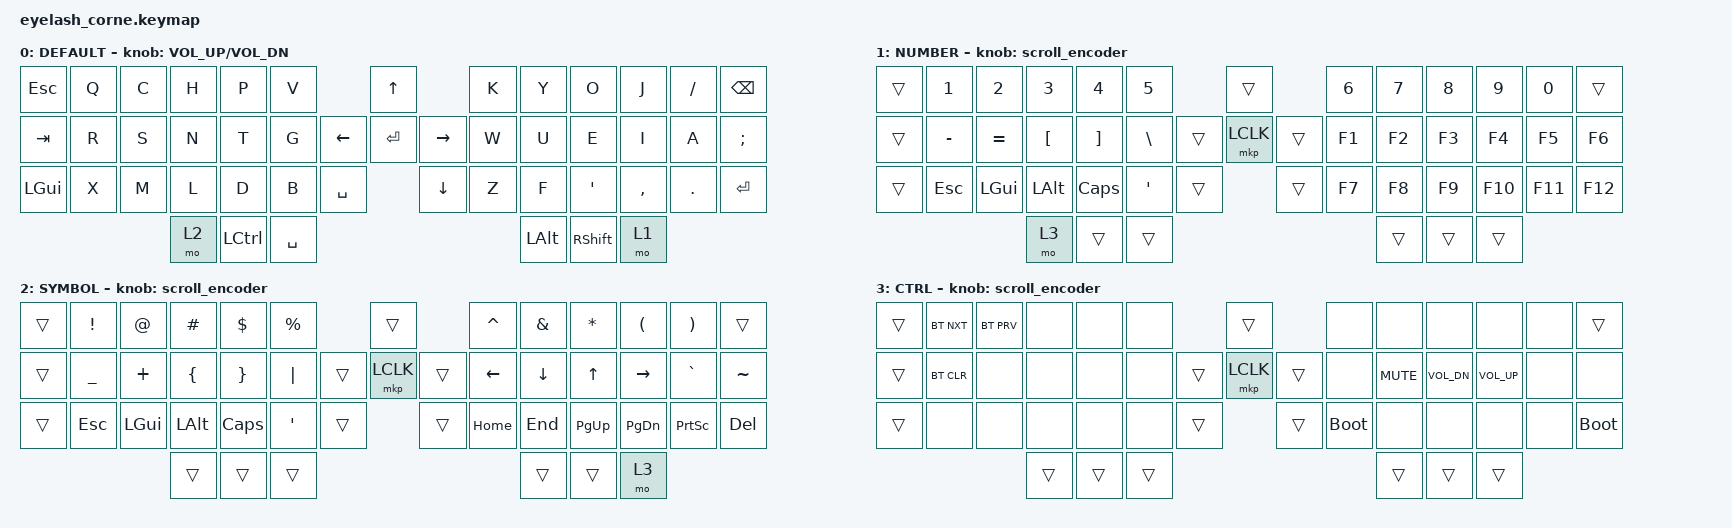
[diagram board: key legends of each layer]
#define ZMK_POINTING_DEFAULT_MOVE_VAL 1200  // 600
#define ZMK_POINTING_DEFAULT_SCRL_VAL 25   // 10

#include <input/processors.dtsi>
#include <zephyr/dt-bindings/input/input-event-codes.h>
#include <behaviors.dtsi>
#include <dt-bindings/zmk/bt.h>
#include <dt-bindings/zmk/keys.h>
#include <dt-bindings/zmk/outputs.h>
#include <dt-bindings/zmk/pointing.h>
#include <dt-bindings/zmk/rgb.h>

&mmv_input_listener { input-processors = <&zip_xy_scaler 2 1>; };

&msc_input_listener { input-processors = <&zip_scroll_scaler 2 1>; };

&msc {
    acceleration-exponent = <1>;      // 0
    time-to-max-speed-ms = <100>;       // 300
    delay-ms = <0>;                   // 0
};

&mmv {
    time-to-max-speed-ms = <500>;
    acceleration-exponent = <1>;
    trigger-period-ms = <16>;
};

&soft_off { hold-time-ms = <2000>; };

/ {
    behaviors {
        td0: td0 {
            compatible = "zmk,behavior-tap-dance";
            display-name = "Shift/Caps Lock Tap Dance";
            #binding-cells = <0>;
            bindings = <&kp LEFT_SHIFT>, <&kp CAPS>;
        };
    };

    rgb_encoder: rgb_encoder {
        compatible = "zmk,behavior-sensor-rotate";
        #sensor-binding-cells = <0>;
        bindings = <&rgb_ug RGB_BRI>, <&rgb_ug RGB_BRD>;
    };

    scroll_encoder: scroll_encoder {
        compatible = "zmk,behavior-sensor-rotate";
        #sensor-binding-cells = <0>;
        bindings = <&msc SCRL_DOWN>, <&msc SCRL_UP>;

        tap-ms = <100>;
    };

    combos {
        compatible = "zmk,combos";

        softoff {
            bindings = <&soft_off>;
            key-positions = <1 15 29>;
        };
    };

    keymap {
        compatible = "zmk,keymap";

        default_layer {
            display-name = "DEFAULT";

            bindings = <
&kp ESC     &kp Q   &kp C   &kp H   &kp P   &kp V                                   &kp UP                  &kp K   &kp Y   &kp O   &kp J       &kp FSLH    &kp BSPC
&kp TAB     &kp R   &kp S   &kp N   &kp T   &kp G                       &kp LEFT    &kp ENTER   &kp RIGHT   &kp W   &kp U   &kp E   &kp I       &kp A       &kp SEMI 
&kp LGUI    &kp X   &kp M   &kp L   &kp D   &kp B   &kp SPACE                       &kp DOWN                &kp Z   &kp F   &kp SQT &kp COMMA   &kp DOT     &kp ENTER
                            &mo 2   &kp LCTRL   &kp SPACE                                                   &kp LALT    &kp RSHFT   &mo 1
            >;

            sensor-bindings = <&inc_dec_kp C_VOLUME_UP C_VOL_DN>;
        };

        lower_layer {
            display-name = "NUMBER";
            bindings = <
&trans  &kp N1      &kp N2      &kp N3  &kp N4  &kp N5                                  &trans                  &kp N6  &kp N7  &kp N8  &kp N9  &kp N0  &trans 
&trans  &kp MINUS   &kp EQUAL   &kp LBKT  &kp RBKT  &kp BSLH                    &trans  &mkp LCLK  &trans       &kp F1  &kp F2  &kp F3  &kp F4  &kp F5  &kp F6
&trans  &kp ESC     &kp LGUI    &kp LALT  &kp CAPS  &kp SINGLE_QUOTE &trans             &trans                  &kp F7  &kp F8  &kp F9  &kp F10 &kp F11 &kp F12
                                &mo 3     &trans    &trans                                                      &trans  &trans  &trans
            >;

            sensor-bindings = <&scroll_encoder>;
        };

        raise_layer {
            display-name = "SYMBOL";
            bindings = <
&trans  &kp EXCL    &kp AT      &kp HASH    &kp DLLR    &kp PRCNT                       &trans                  &kp CARET   &kp AMPS    &kp ASTRK   &kp LPAR    &kp RPAR    &trans
&trans  &kp UNDER   &kp PLUS    &kp LBRC    &kp RBRC    &kp PIPE                &trans  &mkp LCLK  &trans       &kp LEFT    &kp DOWN    &kp UP      &kp RIGHT   &kp GRAVE   &kp TILDE
&trans  &kp ESC     &kp LGUI    &kp LALT    &kp CAPS    &kp APOS    &trans              &trans                  &kp HOME    &kp END     &kp PG_UP   &kp PG_DN   &kp PSCRN   &kp DEL
                                &trans      &trans      &trans                                                  &trans      &trans      &mo 3
            >;

            sensor-bindings = <&scroll_encoder>;
        };

        layer_3 {
            display-name = "CTRL";
            bindings = <
&trans      &bt BT_NXT  &bt BT_PRV  &none       &none       &none                               &trans                  &none           &none       &none           &none      &none    &trans
&trans      &bt BT_CLR  &none       &none       &none       &none                       &trans  &mkp LCLK  &trans       &none           &kp C_MUTE  &kp C_VOL_DN    &kp C_VOL_UP    &none   &none
&trans      &none       &none       &none       &none       &none           &trans              &trans                  &bootloader     &none       &none           &none       &none   &bootloader
                            &trans      &trans      &trans                                                      &trans          &trans      &trans
            >;

            sensor-bindings = <&scroll_encoder>;
        };
    };
};
